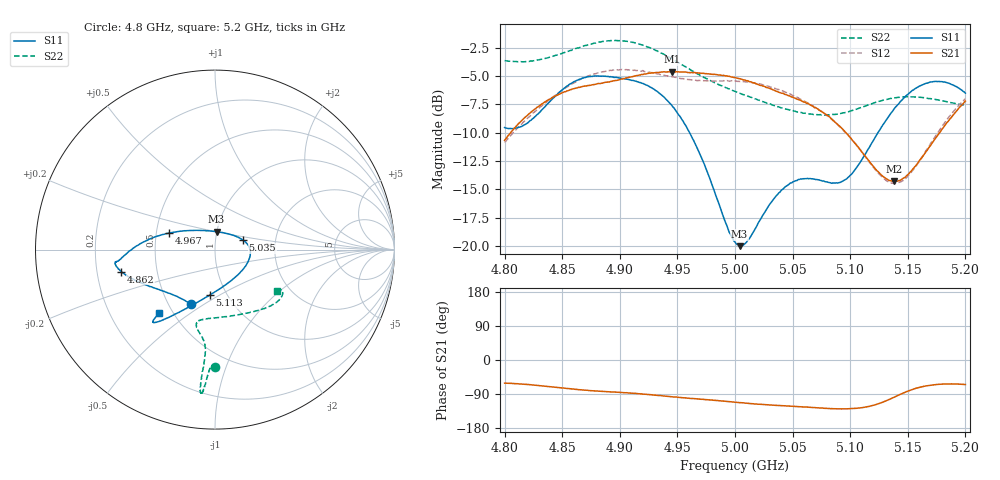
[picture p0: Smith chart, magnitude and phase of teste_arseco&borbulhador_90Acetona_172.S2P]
! Network Analyzer HP8722D
! Hewlett-Packard
! Data name: Linha & Wilkinson
! Saver's name: Rodrigo Anjos
! Comments: Teste da utilização de aquisição
! continua pelo VNA HP8722D
! Time and date: 17/4/2025 12:29
!  Frequency  S11  S21  S12  S22
# HZ  S  MA R 50
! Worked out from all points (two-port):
!   401 points, 4.8 GHz to 5.2 GHz, reference 50 ohm
!   highest |S21| = -4.62 dB at 4.945 GHz (marker M1); lowest = -14.3 dB at 5.138 GHz (marker M2)
!   |S21| within 3 dB of the highest: 4.83 GHz to 5.067 GHz (236.3 MHz wide, 4.78 % of centre); 5.196292 GHz to end of sweep
!   lowest |S11| = -20.0 dB at 5.004 GHz (marker M3), VSWR 1.22, Z = 49.9 + j10 ohm
!   |S11| at or under -10 dB: 4.961 GHz to 5.124 GHz (163.5 MHz wide, 3.24 % of centre)
!   |S22| runs from -8.5 to -1.9 dB; largest |S21 - S12| = 0.88
!   S11 on the Smith chart (normalised r, x): 4.8 GHz: 0.64, -0.44; 4.862 GHz: 0.31, -0.11; 4.967 GHz: 0.58, +0.12; 5.035 GHz: 1.36, +0.15; 5.113 GHz: 0.84, -0.45; 5.2 GHz: 0.42, -0.38
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4.8e9  0.3331 -114.1  0.2924 -61.1  0.2863 -175.2  0.6568 -89.9
4.819e9  0.347 -134.2  0.3741 -64.4  0.3617 -174.0  0.6509 -91.6
4.862e9  0.5358 -166.7  0.4972 -77.5  0.5304 -177.2  0.7432 -94.0
4.867e9  0.5486 -168.5  0.5034 -78.9  0.5465 -178.2  0.757 -94.2
4.902e9  0.5479 -173.2  0.5451 -85.7  0.6003 174.9  0.804 -95.7
4.934e9  0.4738 -179.3  0.5825 -93.8  0.5731 171.6  0.717 -96.1
4.945e9  0.4184 175.5  0.5872 -96.9  0.558 171.7  0.6712 -95.7
4.967e9  0.2719 160.1  0.5797 -102.5  0.5359 173.6  0.5759 -95.5
5e9  0.1043 98.4  0.5526 -111.3  0.5339 176.0  0.4806 -99.6
5.004e9  0.09997 84.9  0.5466 -112.5  0.5316 175.8  0.4721 -100.4
5.012e9  0.1072 59.3  0.5318 -114.7  0.5276 175.6  0.4563 -102.2
5.035e9  0.1646 19.0  0.4834 -119.5  0.4949 174.5  0.4142 -103.7
5.05e9  0.1915 4.0  0.4531 -122.3  0.461 173.9  0.3961 -99.8
5.067e9  0.1981 -14.2  0.4153 -125.2  0.4176 173.5  0.3817 -90.9
5.093e9  0.1928 -58.6  0.3293 -128.9  0.3287 173.9  0.3852 -70.7
5.113e9  0.2537 -96.2  0.2495 -124.4  0.2488 -179.9  0.4142 -55.1
5.134e9  0.3765 -117.3  0.1945 -103.9  0.1909 -157.0  0.4461 -43.2
5.138e9  0.4016 -119.6  0.1927 -98.3  0.1892 -150.5  0.4492 -41.3
5.15e9  0.4664 -125.1  0.2062 -82.5  0.2033 -132.1  0.4551 -36.9
5.17e9  0.5287 -129.7  0.2789 -66.4  0.2844 -112.6  0.4464 -32.2
5.184e9  0.525 -131.0  0.3505 -63.2  0.3616 -107.5  0.4328 -31.3
5.2e9  0.4721 -131.4  0.4352 -64.7  0.4461 -106.7  0.4164 -33.7
